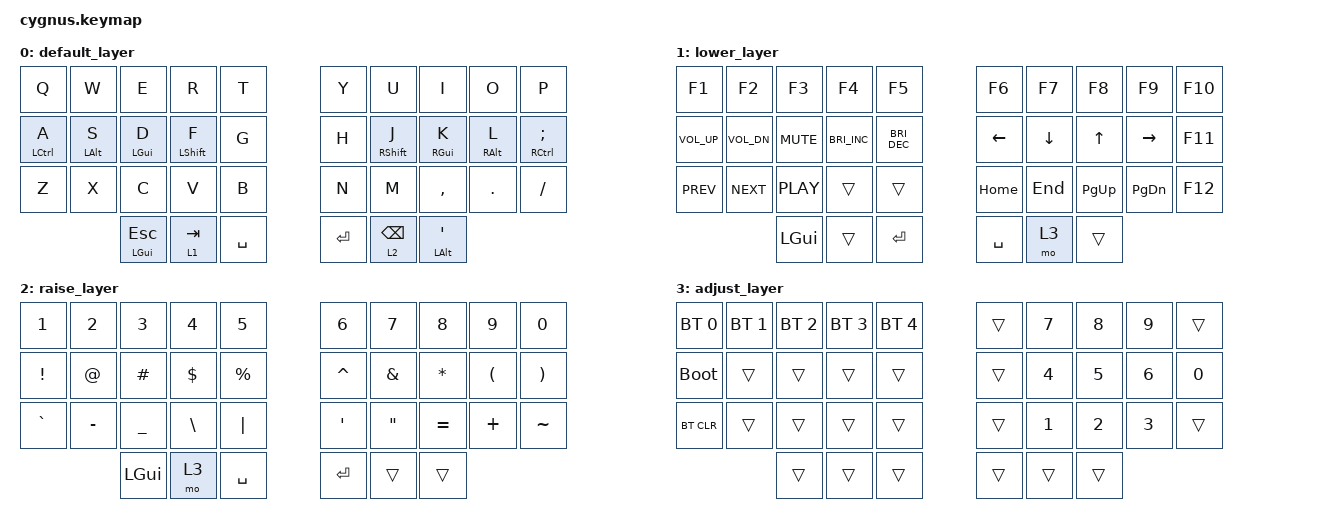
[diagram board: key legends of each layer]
/*
 * Copyright (c) 2020 The ZMK Contributors
 *
 * SPDX-License-Identifier: MIT
 */

/*                              36 KEY MATRIX / LAYOUT MAPPING

  ╭────────────────────┬────────────────────╮ ╭─────────────────────┬─────────────────────╮
  │  0   1   2   3   4 │  5   6   7   8   9 │ │ LT4 LT3 LT2 LT1 LT0 │ RT0 RT1 RT2 RT3 RT4 │
  │ 10  11  12  13  14 │ 15  16  17  18  19 │ │ LM4 LM3 LM2 LM1 LM0 │ RM0 RM1 RM2 RM3 RM4 │
  │ 20  21  22  23  24 │ 25  26  27  28  29 │ │ LB4 LB3 LB2 LB1 LB0 │ RB0 RB1 RB2 RB3 RB4 │
  ╰───────╮ 30  31  32 │ 33  34  35 ╭───────╯ ╰───────╮ LH2 LH1 LH0 │ RH0 RH1 RH2 ╭───────╯
          ╰────────────┴────────────╯                 ╰─────────────┴─────────────╯             */

#include <behaviors.dtsi>
#include <dt-bindings/zmk/bt.h>
#include <dt-bindings/zmk/keys.h>
//#include <dt-bindings/zmk/mouse.h>

// Home row mods macro (CAGS for MacOS)
#define HRML(k1,k2,k3,k4) &thm LCTRL k1  &thm LALT k2  &thm LGUI k3  &thm LSHFT k4
#define HRMR(k1,k2,k3,k4) &thm RSHFT k1  &thm RGUI k2  &thm RALT k3  &thm RCTRL k4

/ {
    behaviors {
        // timeless homerow mods
        thm: timeless_homerow_mods {
            label = "timeless_homerow_mods";
            compatible = "zmk,behavior-hold-tap";
            #binding-cells = <2>;
            flavor = "balanced";
            tapping-term-ms = <200>;
            quick-tap-ms = <200>; // repeat on tap-into-hold
            require-prior-idle-ms = <120>;
            bindings = <&kp>, <&kp>;
            hold-trigger-on-release; // delay positional check until key-release
        };

        // layer-tap for thumb keys
        mlt: my_layer_tap {
            label = "my_layer_tap";
            compatible = "zmk,behavior-hold-tap";
            #binding-cells = <2>;
            flavor = "balanced";
            tapping-term-ms = <200>;
            quick-tap-ms = <200>; // repeat on tap-into-hold
            require-prior-idle-ms = <120>;
            bindings = <&mo>, <&kp>;
            hold-trigger-on-release; // delay positional check until key-release
        };
    };

    combos {
        compatible = "zmk,combos";

        // [
        combo_lbkt {
            timeout-ms = <50>;
            key-positions = <23 24>;
            bindings = <&kp LBKT>;
            layers = <0>;
        };

        // ]
        combo_rbkt {
            timeout-ms = <50>;
            key-positions = <25 26>;
            bindings = <&kp RBKT>;
            layers = <0>;
        };

        // {
        combo_lbrc {
            timeout-ms = <50>;
            key-positions = <13 14>;
            bindings = <&kp LBRC>;
            layers = <0>;
        };

        // }
        combo_rbrc {
            timeout-ms = <50>;
            key-positions = <15 16>;
            bindings = <&kp RBRC>;
            layers = <0>;
        };

        // `
        combo_grave {
            bindings = <&kp GRAVE>;
            key-positions = <20 21>;
            timeout-ms = <50>;
            layers = <0>;
        };

        // -
        combo_minus {
            bindings = <&kp MINUS>;
            key-positions = <21 22>;
            timeout-ms = <50>;
            layers = <0>;
        };

        // _
        combo_under {
            bindings = <&kp UNDER>;
            key-positions = <22 23>;
            timeout-ms = <50>;
            layers = <0>;
        };

        // =
        combo_equal {
            bindings = <&kp EQUAL>;
            key-positions = <26 27>;
            timeout-ms = <50>;
            layers = <0>;
        };

        // +
        combo_plus {
            bindings = <&kp PLUS>;
            key-positions = <27 28>;
            timeout-ms = <50>;
            layers = <0>;
        };

        // ~
        combo_tilde {
            bindings = <&kp TILDE>;
            key-positions = <28 29>;
            timeout-ms = <50>;
            layers = <0>;
        };

        // C-SPC
        combo_c_spc {
            bindings = <&kp LC(SPACE)>;
            key-positions = <10 11>;
            timeout-ms = <50>;
            layers = <0>;
        };

        // C-S-TAB
        combo_tab_prev {
            bindings = <&kp LC(LS(TAB))>;
            key-positions = <11 12>;
            timeout-ms = <50>;
            layers = <0>;
        };

        // C-TAB
        combo_tab_next {
            bindings = <&kp LC(TAB)>;
            key-positions = <12 13>;
            timeout-ms = <50>;
            layers = <0>;
        };

        // - [ ]
        combo_todo {
            bindings = <&todo>;
            key-positions = <14 15>; // gh
            layers = <0>;
            timeout-ms = <50>;
        };
    };

    macros {
        todo: todo {
            compatible = "zmk,behavior-macro";
            label = "TODO";
            #binding-cells = <0>;
            wait-ms = <0>;
            tap-ms = <0>;
            bindings = <&kp MINUS &kp SPACE &kp LBKT &kp SPACE &kp RBKT &kp SPACE>;
        };
    };

    keymap {
        compatible = "zmk,keymap";

        default_layer {
            bindings = <
&kp Q  &kp W  &kp E     &kp R  &kp T        &kp Y    &kp U  &kp I      &kp O    &kp P
&thm LCTRL A  &thm LALT S  &thm LGUI D  &thm LSHFT F &kp G        &kp H &thm RSHFT J  &thm RGUI K  &thm RALT L  &thm RCTRL SEMI
&kp Z  &kp X  &kp C     &kp V  &kp B        &kp N    &kp M  &kp COMMA  &kp DOT  &kp FSLH
     &mt LGUI ESC  &mlt 1 TAB  &kp SPACE    &kp RET  &mlt 2 BSPC  &mt LALT SQT
            >;
        };

        lower_layer {
            bindings = <
&kp F1           &kp F2        &kp F3      &kp F4                &kp F5                  &kp F6     &kp F7    &kp F8     &kp F9     &kp F10
&kp C_VOLUME_UP  &kp C_VOL_DN  &kp K_MUTE  &kp C_BRIGHTNESS_INC  &kp C_BRIGHTNESS_DEC    &kp LEFT   &kp DOWN  &kp UP     &kp RIGHT  &kp F11
&kp C_PREV       &kp C_NEXT    &kp C_PLAY     &trans       &trans             &kp HOME   &kp END   &kp PG_UP  &kp PG_DN  &kp F12
                               &kp LGUI    &trans          &kp RETURN              &kp SPACE  &mo 3     &trans
            >;
        };

        raise_layer {
            bindings = <
&kp N1     &kp N2     &kp N3     &kp N4    &kp N5       &kp N6     &kp N7    &kp N8     &kp N9    &kp N0
&kp EXCL   &kp AT     &kp HASH   &kp DLLR  &kp PRCNT    &kp CARET  &kp AMPS  &kp ASTRK  &kp LPAR  &kp RPAR
&kp GRAVE  &kp MINUS  &kp UNDER  &kp BSLH  &kp PIPE     &kp SQT    &kp DQT   &kp EQUAL  &kp PLUS  &kp TILDE
                                 &kp LGUI   &mo 3     &kp SPACE    &kp RET    &trans    &trans
            >;
        };

        adjust_layer {
            bindings = <
&bt BT_SEL 0  &bt BT_SEL 1  &bt BT_SEL 2  &bt BT_SEL 3  &bt BT_SEL 4  &trans  &kp N7  &kp N8  &kp N9  &trans
&bootloader  &trans  &trans  &trans  &trans        &trans &kp N4  &kp N5  &kp N6 &kp N0
&bt BT_CLR   &trans  &trans  &trans  &trans        &trans &kp N1  &kp N2  &kp N3 &trans
                     &trans  &trans  &trans        &trans  &trans  &trans
            >;
        };
    };
};
